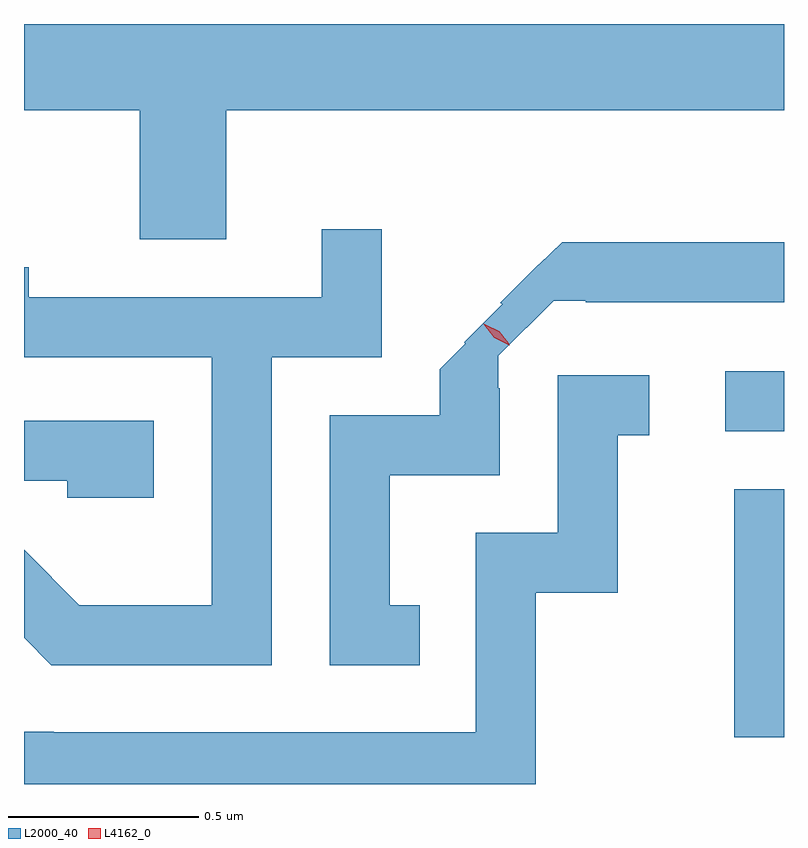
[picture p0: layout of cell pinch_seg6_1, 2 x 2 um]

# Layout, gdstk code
import gdstk
lib = gdstk.Library(unit=1e-6, precision=1e-09)
def R(c, l, rs):  # rectangles x0, y0, x1, y1
    for r in rs: c.add(gdstk.rectangle(r[:2], r[2:], *l))
def P(c, l, *ps):  # polygons
    for p in ps: c.add(gdstk.Polygon(p, *l))
L2000_40 = (2000, 40)
L4162_0 = (4162, 0)

pinch_seg6_1 = lib.new_cell('pinch_seg6_1')
R(pinch_seg6_1, L2000_40, [(846.856,1557.266,846.987,1557.919), (846.833,1558.071,846.987,1558.229)])
P(pinch_seg6_1, L2000_40, [(845.519,1558.916),(846.987,1558.916),(846.987,1559.143),(844.987,1559.143),(844.987,1558.916),(845.291,1558.916),(845.291,1558.576),(845.519,1558.576)],
  [(845.639,1558.266),(845.929,1558.266),(845.929,1558.603),(845.771,1558.603),(845.771,1558.424),(844.999,1558.424),(844.999,1558.503),(844.987,1558.503),(844.987,1558.266),(845.481,1558.266),(845.481,1557.614),(845.132,1557.614),(844.987,1557.759),(844.987,1557.528),(845.059,1557.456),(845.639,1557.456)],
  [(846.028,1557.614),(845.949,1557.614),(845.949,1557.956),(846.239,1557.956),(846.239,1558.185),(846.235,1558.185),(846.235,1558.27),(846.381,1558.415),(846.465,1558.415),(846.465,1558.411),(846.987,1558.411),(846.987,1558.569),(846.403,1558.569),(846.342,1558.509),(846.34,1558.51),(846.24,1558.41),(846.245,1558.405),(846.145,1558.305),(846.148,1558.302),(846.081,1558.235),(846.081,1558.114),(845.791,1558.114),(845.791,1557.456),(846.028,1557.456)],
  [(846.334,1557.646),(846.549,1557.646),(846.549,1558.061),(846.633,1558.061),(846.633,1558.219),(846.391,1558.219),(846.391,1557.804),(846.176,1557.804),(846.176,1557.279),(845.065,1557.279),(845.065,1557.28),(844.987,1557.28),(844.987,1557.143),(846.334,1557.143)],
  [(845.329,1558.099),(844.987,1558.099),(844.987,1557.941),(845.101,1557.941),(845.101,1557.896),(845.329,1557.896)])
P(pinch_seg6_1, L4162_0, [(846.264,1558.298),(846.224,1558.318),(846.197,1558.353),(846.197,1558.354),(846.197,1558.354),(846.237,1558.333),(846.265,1558.298),(846.265,1558.298)],
  [(846.261,1558.302),(846.225,1558.319),(846.202,1558.35),(846.202,1558.351),(846.202,1558.351),(846.238,1558.334),(846.262,1558.303),(846.262,1558.302)])

lib.write_gds('pinch_seg6_1.gds')
